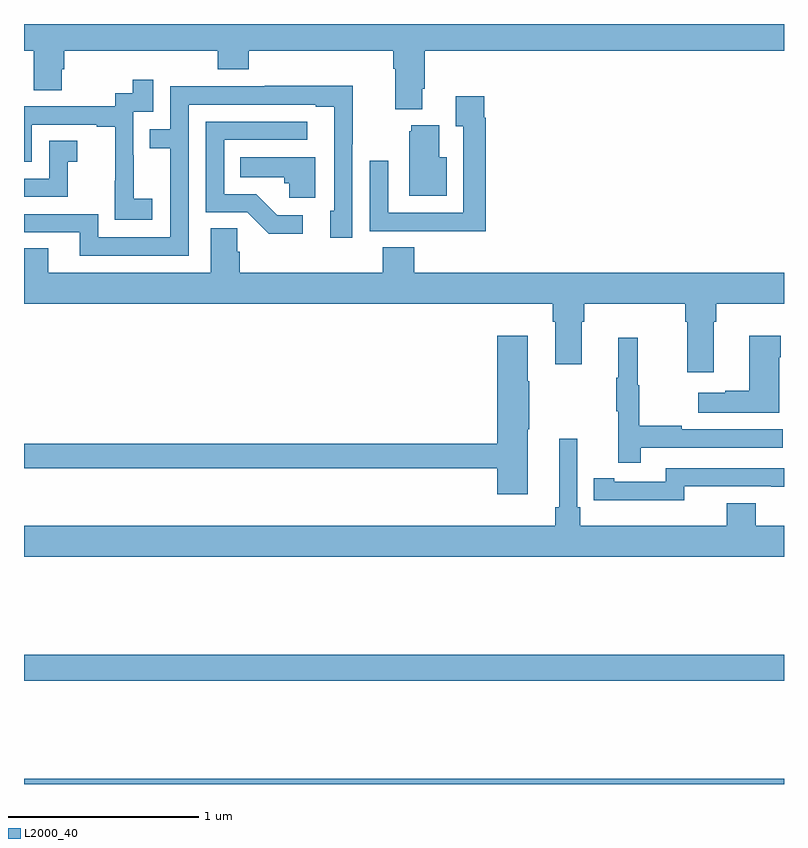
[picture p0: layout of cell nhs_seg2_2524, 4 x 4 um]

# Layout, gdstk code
import gdstk
lib = gdstk.Library(unit=1e-6, precision=1e-09)
def R(c, l, rs):  # rectangles x0, y0, x1, y1
    for r in rs: c.add(gdstk.rectangle(r[:2], r[2:], *l))
def P(c, l, *ps):  # polygons
    for p in ps: c.add(gdstk.Polygon(p, *l))
L2000_40 = (2000, 40)

nhs_seg2_2524 = lib.new_cell('nhs_seg2_2524')
R(nhs_seg2_2524, L2000_40, [(243,619.8,247,619.828), (243,620.344,247,620.48)])
P(nhs_seg2_2524, L2000_40, [(245.095,623.458),(245.108,623.458),(245.108,623.66),(247,623.66),(247,623.8),(243,623.8),(243,623.66),(243.052,623.66),(243.052,623.452),(243.199,623.452),(243.199,623.562),(243.212,623.562),(243.212,623.66),(244.019,623.66),(244.019,623.561),(244.184,623.561),(244.184,623.66),(244.943,623.66),(244.943,623.564),(244.955,623.564),(244.955,623.351),(245.095,623.351)],
  [(243.676,622.879),(243.578,622.879),(243.578,623.108),(243.576,623.108),(243.576,623.337),(243.681,623.337),(243.681,623.506),(243.573,623.506),(243.573,623.436),(243.48,623.436),(243.48,623.367),(243,623.367),(243,623.076),(243.042,623.076),(243.042,623.271),(243.383,623.271),(243.383,623.259),(243.479,623.259),(243.479,622.975),(243.478,622.975),(243.478,622.769),(243.676,622.769)],
  [(243.867,623.376),(244.535,623.376),(244.535,623.364),(244.632,623.364),(244.632,622.818),(244.613,622.818),(244.613,622.674),(244.728,622.674),(244.728,623.167),(244.731,623.167),(244.731,623.474),(244.267,623.474),(244.267,623.472),(243.771,623.472),(243.771,623.247),(243.661,623.247),(243.661,623.146),(243.771,623.146),(243.771,622.677),(243.39,622.677),(243.39,622.8),(243,622.8),(243,622.704),(243.293,622.704),(243.293,622.581),(243.867,622.581)],
  [(245.429,623.306),(245.422,623.306),(245.422,623.419),(245.273,623.419),(245.273,623.263),(245.313,623.263),(245.313,622.806),(244.917,622.806),(244.917,623.08),(244.821,623.08),(244.821,622.71),(245.137,622.71),(245.137,622.709),(245.429,622.709)],
  [(244.468,622.794),(244.333,622.794),(244.222,622.905),(244.053,622.905),(244.053,623.19),(244.492,623.19),(244.492,623.286),(243.957,623.286),(243.957,622.809),(244.176,622.809),(244.289,622.697),(244.468,622.697)],
  [(245.224,623.098),(245.185,623.098),(245.185,623.266),(245.039,623.266),(245.039,623.235),(245.027,623.235),(245.027,622.895),(245.224,622.895)],
  [(243.231,623.075),(243.28,623.075),(243.28,623.185),(243.132,623.185),(243.132,622.986),(243,622.986),(243,622.89),(243.231,622.89)],
  [(244.534,623.098),(244.138,623.098),(244.138,622.994),(244.369,622.994),(244.369,622.962),(244.395,622.962),(244.395,622.886),(244.534,622.886)],
  [(246.631,622.232),(246.644,622.232),(246.644,622.328),(247,622.328),(247,622.492),(245.054,622.492),(245.054,622.625),(244.889,622.625),(244.889,622.492),(244.136,622.492),(244.136,622.601),(244.122,622.601),(244.122,622.724),(243.983,622.724),(243.983,622.492),(243.127,622.492),(243.127,622.619),(243,622.619),(243,622.328),(245.783,622.328),(245.783,622.232),(245.795,622.232),(245.795,622.008),(245.935,622.008),(245.935,622.232),(245.948,622.232),(245.948,622.328),(246.479,622.328),(246.479,622.232),(246.491,622.232),(246.491,621.966),(246.631,621.966)],
  [(246.976,622.046),(246.984,622.046),(246.984,622.159),(246.818,622.159),(246.818,621.869),(246.692,621.869),(246.692,621.859),(246.549,621.859),(246.549,621.755),(246.976,621.755)],
  [(245.65,621.667),(245.658,621.667),(245.658,621.92),(245.65,621.92),(245.65,622.159),(245.492,622.159),(245.492,621.59),(243,621.59),(243,621.462),(245.492,621.462),(245.492,621.324),(245.65,621.324)],
  [(246.245,621.57),(246.994,621.57),(246.994,621.666),(246.461,621.666),(246.461,621.686),(246.238,621.686),(246.238,621.9),(246.23,621.9),(246.23,622.15),(246.128,622.15),(246.128,621.937),(246.117,621.937),(246.117,621.763),(246.128,621.763),(246.128,621.492),(246.245,621.492)],
  [(247,621.16),(246.851,621.16),(246.851,621.277),(246.698,621.277),(246.698,621.16),(245.927,621.16),(245.927,621.256),(245.913,621.256),(245.913,621.616),(245.816,621.616),(245.816,621.256),(245.797,621.256),(245.797,621.16),(243,621.16),(243,620.996),(247,620.996)],
  [(246.474,621.366),(246.934,621.366),(246.934,621.365),(247,621.365),(247,621.462),(246.378,621.462),(246.378,621.39),(246.106,621.39),(246.106,621.41),(245.998,621.41),(245.998,621.294),(246.106,621.294),(246.106,621.293),(246.474,621.293)])

lib.write_gds('nhs_seg2_2524.gds')
